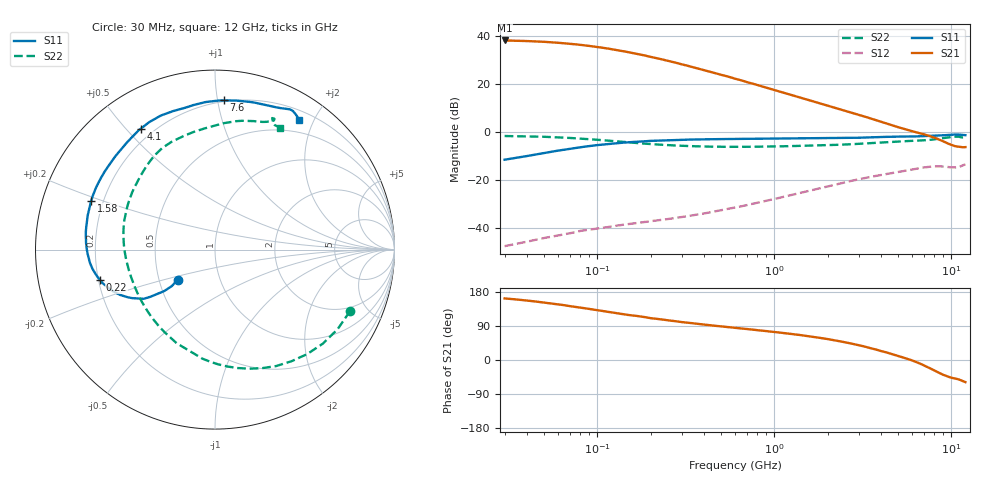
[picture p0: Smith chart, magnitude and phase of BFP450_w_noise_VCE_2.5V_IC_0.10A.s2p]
! (c) 2015  Infineon Technologies AG, Munich
! Infineon Technologies  Discrete & RF Semiconductors
! BFP450
! VCE =  2.5 V,  IC = 0.10 A
! Common Emitter S-Parameters:  Nov 2015
# GHz  S  MA  R  50
!  f  S11  S21  S12  S22
! GHz  MAG  ANG  MAG  ANG  MAG  ANG  MAG  ANG
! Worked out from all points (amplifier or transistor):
!   239 points, 30 MHz to 12 GHz, reference 50 ohm
!   highest |S21| = 38.1 dB at 30 MHz (marker M1)
!   |S21| within 3 dB of that: start of sweep to 106.6 MHz
!   unconditionally stable (mu >= 1): 892.4 MHz to end of sweep
!   at 300 MHz: K = 0.72, MSG = 31.8 dB, |S12| = -35.4 dB
!   at 1.88 GHz: K = 1.09, MAG = 15.5 dB, |S12| = -23.1 dB
!   at 12 GHz: K = 1.08, MAG = 1.8 dB, |S12| = -13.5 dB
!   lowest NFmin = 2.12 dB at 450 MHz
!   S11 on the Smith chart (normalised r, x): 30 MHz: 0.63, -0.22; 220 MHz: 0.21, -0.12; 1.58 GHz: 0.15, +0.19; 4.1 GHz: 0.15, +0.55; 7.6 GHz: 0.19, +1.04; 12 GHz: 0.32, +1.79
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0.03  0.2653 -141.1  80.76 162.5  0.0042 81.8  0.8268 -24.5
0.04  0.3158 -139.8  78.48 157.0  0.0052 76.3  0.8145 -33.0
0.05  0.3659 -140.8  75.71 151.6  0.0062 72.4  0.7972 -41.1
0.06  0.4099 -142.7  72.31 147.0  0.007 69.2  0.7762 -48.6
0.07  0.4469 -143.9  68.88 142.2  0.0078 66.8  0.7539 -55.6
0.085  0.4961 -146.6  63.88 136.6  0.009 63.3  0.7209 -65.3
0.11  0.5534 -151.3  56.2 128.5  0.0103 59.4  0.672 -79.1
0.13  0.587 -154.6  50.73 123.3  0.0113 57.3  0.6392 -88.5
0.15  0.6133 -157.7  46.02 118.8  0.0121 56.0  0.6119 -96.5
0.2  0.6545 -163.5  36.73 110.4  0.0139 54.7  0.5637 -112.3
0.22  0.6627 -165.2  34.16 108.3  0.0145 54.9  0.5495 -116.8
0.24  0.6716 -166.9  31.65 105.9  0.0151 55.0  0.5388 -121.5
0.3  0.6906 -171.0  25.7 100.1  0.017 55.7  0.5172 -132.8
0.36  0.7007 -174.0  21.65 96.0  0.0189 56.8  0.5049 -140.7
0.6  0.7187 177.6  12.9 84.7  0.0267 60.1  0.4921 -160.4
1  0.7292 168.7  7.488 73.9  0.0403 60.8  0.5012 -176.7
1.58  0.7415 158.4  4.578 62.6  0.0602 57.0  0.5201 168.8
1.64  0.7428 157.4  4.399 61.5  0.0622 56.4  0.5221 167.5
4.1  0.7903 121.6  1.591 22.5  0.1295 28.3  0.6072 127.6
4.5  0.7993 117.2  1.423 17.2  0.1373 24.3  0.6229 123.0
7.6  0.8329 86.7  0.818 -22.3  0.1903 -8.9  0.6888 90.8
12  0.8609 57.1  0.485 -58.4  0.2125 -40.9  0.7704 62.0
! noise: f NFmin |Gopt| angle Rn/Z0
0.45  2.12  0.64  -172  0.07
0.9  2.18  0.66  -166  0.08
1.9  2.27  0.68  -150  0.16
2.4  2.36  0.67  -140  0.24
